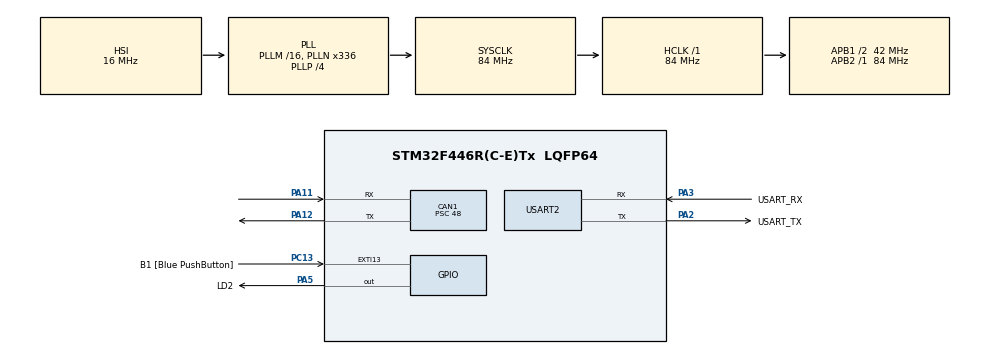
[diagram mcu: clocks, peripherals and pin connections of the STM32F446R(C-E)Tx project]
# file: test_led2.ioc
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CAN1.BS1=CAN_BS1_11TQ
CAN1.BS2=CAN_BS2_2TQ
CAN1.CalculateTimeQuantum=1142.857142857143
CAN1.Mode=CAN_MODE_LOOPBACK
CAN1.Prescaler=48
Mcu.Family=STM32F4
Mcu.Name=STM32F446R(C-E)Tx
Mcu.Package=LQFP64
NVIC.CAN1_RX0_IRQn=true\:0\:0\:false\:false\:true\:true
NVIC.CAN1_RX1_IRQn=true\:0\:0\:false\:false\:true\:true
NVIC.CAN1_SCE_IRQn=true\:0\:0\:false\:false\:true\:true
NVIC.CAN1_TX_IRQn=true\:0\:0\:false\:false\:true\:true
NVIC.PriorityGroup=NVIC_PRIORITYGROUP_0
PA11.Mode=Master
PA11.Signal=CAN1_RX
PA12.Mode=Master
PA12.Signal=CAN1_TX
PA13.GPIO_Label=TMS
PA13.Mode=Serial_Wire
PA13.Signal=SYS_JTMS-SWDIO
PA14.GPIO_Label=TCK
PA14.Mode=Serial_Wire
PA14.Signal=SYS_JTCK-SWCLK
PA2.GPIO_Label=USART_TX
PA2.Mode=Asynchronous
PA2.Signal=USART2_TX
PA3.GPIO_Label=USART_RX
PA3.Mode=Asynchronous
PA3.Signal=USART2_RX
PA5.GPIO_Label=LD2
PA5.Signal=GPIO_Output
PB3.GPIO_Label=SWO
PB3.Signal=SYS_JTDO-SWO
PC13.GPIO_Label=B1 [Blue PushButton]
PC13.GPIO_ModeDefaultEXTI=GPIO_MODE_IT_FALLING
PC13.Signal=GPXTI13
PC14-OSC32_IN.Mode=LSE-External-Clock-Source
PC14-OSC32_IN.Signal=RCC_OSC32_IN
PC15-OSC32_OUT.Mode=LSE-External-Clock-Source
PC15-OSC32_OUT.Signal=RCC_OSC32_OUT
PH0-OSC_IN.Mode=HSE-External-Clock-Source
PH0-OSC_IN.Signal=RCC_OSC_IN
PH1-OSC_OUT.Mode=HSE-External-Clock-Source
PH1-OSC_OUT.Signal=RCC_OSC_OUT
ProjectManager.HeapSize=0x200
ProjectManager.StackSize=0x400
ProjectManager.TargetToolchain=TrueSTUDIO
RCC.48MHZClocksFreq_Value=84000000
RCC.AHBFreq_Value=84000000
RCC.APB1CLKDivider=RCC_HCLK_DIV2
RCC.APB1Freq_Value=42000000
RCC.APB1TimFreq_Value=84000000
RCC.APB2Freq_Value=84000000
RCC.APB2TimFreq_Value=84000000
RCC.CortexFreq_Value=84000000
RCC.FLatency-AdvancedSettings=FLASH_LATENCY_2
RCC.HCLKFreq_Value=84000000
RCC.HSE_VALUE=8000000
RCC.HSI_VALUE=16000000
RCC.PLLN=336
RCC.PLLP=RCC_PLLP_DIV4
RCC.SYSCLKFreq_VALUE=84000000
RCC.SYSCLKSource=RCC_SYSCLKSOURCE_PLLCLK
RCC.USBFreq_Value=168000000
RCC.VCOOutputFreq_Value=336000000
USART2.VirtualMode=VM_ASYNC
board=NUCLEO-F446RE

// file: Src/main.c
/**
  ******************************************************************************
  * @file           : main.c
  * @brief          : Main program body
  ******************************************************************************
  ** This notice applies to any and all portions of this file
  * that are not between comment pairs USER CODE BEGIN and
  * USER CODE END. Other portions of this file, whether
  * inserted by the user or by software development tools
  * are owned by their respective copyright owners.
  *
  * COPYRIGHT(c) 2018 STMicroelectronics
  *
  * Redistribution and use in source and binary forms, with or without modification,
  * are permitted provided that the following conditions are met:
  *   1. Redistributions of source code must retain the above copyright notice,
  *      this list of conditions and the following disclaimer.
  *   2. Redistributions in binary form must reproduce the above copyright notice,
  *      this list of conditions and the following disclaimer in the documentation
  *      and/or other materials provided with the distribution.
  *   3. Neither the name of STMicroelectronics nor the names of its contributors
  *      may be used to endorse or promote products derived from this software
  *      without specific prior written permission.
  *
  * THIS SOFTWARE IS PROVIDED BY THE COPYRIGHT HOLDERS AND CONTRIBUTORS "AS IS"
  * AND ANY EXPRESS OR IMPLIED WARRANTIES, INCLUDING, BUT NOT LIMITED TO, THE
  * IMPLIED WARRANTIES OF MERCHANTABILITY AND FITNESS FOR A PARTICULAR PURPOSE ARE
  * DISCLAIMED. IN NO EVENT SHALL THE COPYRIGHT HOLDER OR CONTRIBUTORS BE LIABLE
  * FOR ANY DIRECT, INDIRECT, INCIDENTAL, SPECIAL, EXEMPLARY, OR CONSEQUENTIAL
  * DAMAGES (INCLUDING, BUT NOT LIMITED TO, PROCUREMENT OF SUBSTITUTE GOODS OR
  * SERVICES; LOSS OF USE, DATA, OR PROFITS; OR BUSINESS INTERRUPTION) HOWEVER
  * CAUSED AND ON ANY THEORY OF LIABILITY, WHETHER IN CONTRACT, STRICT LIABILITY,
  * OR TORT (INCLUDING NEGLIGENCE OR OTHERWISE) ARISING IN ANY WAY OUT OF THE USE
  * OF THIS SOFTWARE, EVEN IF ADVISED OF THE POSSIBILITY OF SUCH DAMAGE.
  *
  ******************************************************************************
  */
#include "main.h"
#include "stm32f4xx_hal.h"

#include "string.h"
#include "wifi_module.h"
#include "wifi_globals.h"
#include "wifi_interface.h"
#include "config_wifi.h"
#include "connexion_mqtt.h"

/* USER CODE BEGIN Includes */
//#include <stdio.h>
#include "can.h"
/* USER CODE END Includes */

extern uint8_t MQTT_connected;

/* USER CODE BEGIN PV */
/* Private variables ---------------------------------------------------------*/

/* USER CODE END PV */

void SystemClock_Config(void);
static void MX_GPIO_Init(void);
static void MX_USART2_UART_Init(void);
static void MX_CAN1_Init(void);

void  UART_Msg_Gpio_Init(void);
void  USART_PRINT_MSG_Configuration(UART_HandleTypeDef *UART_MsgHandle, uint32_t baud_rate);

/* USER CODE BEGIN PFP */

__IO wifi_state_t wifi_state;
wifi_config config;
UART_HandleTypeDef UART_MsgHandle;

char wifi_ip_addr[20];
uint32_t baud_rate = 115200;

/* USER CODE END 0 */

int main(void)
{
  /* USER CODE BEGIN 1 */
	WiFi_Status_t status = WiFi_MODULE_SUCCESS;

		  __GPIOA_CLK_ENABLE();

  /* USER CODE END 1 */

  /* MCU Configuration----------------------------------------------------------*/

  /* Reset of all peripherals, Initializes the Flash interface and the Systick. */
  HAL_Init();

  /* Configure the system clock */
  SystemClock_Config();

  /* USER CODE BEGIN SysInit */
  SystemCoreClockUpdate();

 	  /* configure the timers  */
 	  Timer_Config( );
  /* USER CODE END SysInit */

  /* Initialize all configured peripherals */
  MX_GPIO_Init();
  MX_USART2_UART_Init();
  MX_CAN1_Init();
  /* USER CODE BEGIN 2 */
  CAN_Config();
  /* USER CODE END 2 */

  /* Infinite loop */
  /* USER CODE BEGIN WHILE */

  UART_Configuration(baud_rate);

 	  config.power=wifi_active;
 	  config.power_level=high;
 	  config.dhcp=on;//use DHCP IP address
 	  config.mcu_baud_rate = baud_rate;
 	  wifi_state = wifi_state_idle;

 	  printf("\r\n\nInitializing the wifi module...");

 	  /* Init the wi-fi module */
 	  status = wifi_init(&config);
 	  if(status!=WiFi_MODULE_SUCCESS)
 	  {
 	    printf("Error in Config");
 	    return 0;
 	  }

	  //A DECOMMENTER POUR QUE LE MODULE COMMENCE EN MODE MINIAP
	  //--
	  //launch_config_wifi();

	  //A DECOMMENTER POUR QUE LE MODULE SE CONNECTE AUTOMATIQUEMENT AU WIFI
	  //--
	  char* ssid_ = "Honor22";
	  char* key_ = "stephane";
	  wifi_connect(ssid_, key_,2);

  while (1)
  {
	  /*HAL_GPIO_TogglePin(GPIOA, GPIO_PIN_5);

	  CAN_Transmit(8,2,TxData);

	 HAL_Delay(500);*/

	  /*__NOP();
	 	  switch(wifi_state)
	 	  {
	 	  case wifi_state_connected:
	 		  if(MQTT_connected==0)
	 		  {
	 			  printf("\r\nConnexion MQTT ...\r\n");
	 			  configuration_MQTT();
	 		  }
	 		  break;
	 		  default:
	 			  MQTT_connected=0;
	 			  break;

	 	  }
*/

  /* USER CODE END WHILE */

  /* USER CODE BEGIN 3 */
	  //HAL_GPIO_TogglePin(LD2_GPIO_Port, LD2_Pin); // PORTA, PA5
	 // HAL_Delay(500);
	  //nLoop++;
	  //printf("nLoop == %d \n\r", nLoop);
  }
  /* USER CODE END 3 */

}

void SystemClock_Config(void)
{

  RCC_OscInitTypeDef RCC_OscInitStruct;
  RCC_ClkInitTypeDef RCC_ClkInitStruct;

    /**Configure the main internal regulator output voltage
    */
  __HAL_RCC_PWR_CLK_ENABLE();

  __HAL_PWR_VOLTAGESCALING_CONFIG(PWR_REGULATOR_VOLTAGE_SCALE3);

    /**Initializes the CPU, AHB and APB busses clocks
    */
  RCC_OscInitStruct.OscillatorType = RCC_OSCILLATORTYPE_HSI;
  RCC_OscInitStruct.HSIState = RCC_HSI_ON;
  RCC_OscInitStruct.HSICalibrationValue = 16;
  RCC_OscInitStruct.PLL.PLLState = RCC_PLL_ON;
  RCC_OscInitStruct.PLL.PLLSource = RCC_PLLSOURCE_HSI;
  RCC_OscInitStruct.PLL.PLLM = 16;
  RCC_OscInitStruct.PLL.PLLN = 336;
  RCC_OscInitStruct.PLL.PLLP = RCC_PLLP_DIV4;
  RCC_OscInitStruct.PLL.PLLQ = 2;
  RCC_OscInitStruct.PLL.PLLR = 2;
  if (HAL_RCC_OscConfig(&RCC_OscInitStruct) != HAL_OK)
  {
    _Error_Handler(__FILE__, __LINE__);
  }

    /**Initializes the CPU, AHB and APB busses clocks
    */
  RCC_ClkInitStruct.ClockType = RCC_CLOCKTYPE_HCLK|RCC_CLOCKTYPE_SYSCLK
                              |RCC_CLOCKTYPE_PCLK1|RCC_CLOCKTYPE_PCLK2;
  RCC_ClkInitStruct.SYSCLKSource = RCC_SYSCLKSOURCE_PLLCLK;
  RCC_ClkInitStruct.AHBCLKDivider = RCC_SYSCLK_DIV1;
  RCC_ClkInitStruct.APB1CLKDivider = RCC_HCLK_DIV2;
  RCC_ClkInitStruct.APB2CLKDivider = RCC_HCLK_DIV1;

  if (HAL_RCC_ClockConfig(&RCC_ClkInitStruct, FLASH_LATENCY_2) != HAL_OK)
  {
    _Error_Handler(__FILE__, __LINE__);
  }

    /**Configure the Systick interrupt time
    */
  HAL_SYSTICK_Config(HAL_RCC_GetHCLKFreq()/1000);

    /**Configure the Systick
    */
  HAL_SYSTICK_CLKSourceConfig(SYSTICK_CLKSOURCE_HCLK);

  /* SysTick_IRQn interrupt configuration */
  HAL_NVIC_SetPriority(SysTick_IRQn, 0, 0);
}

/* CAN1 init function */
static void MX_CAN1_Init(void)
{

  hcan1.Instance = CAN1;
  hcan1.Init.Prescaler = 48;
  hcan1.Init.Mode = CAN_MODE_LOOPBACK;
  hcan1.Init.SyncJumpWidth = CAN_SJW_1TQ;
  hcan1.Init.TimeSeg1 = CAN_BS1_11TQ;
  hcan1.Init.TimeSeg2 = CAN_BS2_2TQ;
  hcan1.Init.TimeTriggeredMode = DISABLE;
  hcan1.Init.AutoBusOff = DISABLE;
  hcan1.Init.AutoWakeUp = DISABLE;
  hcan1.Init.AutoRetransmission = DISABLE;
  hcan1.Init.ReceiveFifoLocked = DISABLE;
  hcan1.Init.TransmitFifoPriority = DISABLE;
  if (HAL_CAN_Init(&hcan1) != HAL_OK)
  {
    _Error_Handler(__FILE__, __LINE__);
  }

}

/* USART2 init function */
static void MX_USART2_UART_Init(void)
{

  huart2.Instance = USART2;
  huart2.Init.BaudRate = 115200;
  huart2.Init.WordLength = UART_WORDLENGTH_8B;
  huart2.Init.StopBits = UART_STOPBITS_1;
  huart2.Init.Parity = UART_PARITY_NONE;
  huart2.Init.Mode = UART_MODE_TX_RX;
  huart2.Init.HwFlowCtl = UART_HWCONTROL_NONE;
  huart2.Init.OverSampling = UART_OVERSAMPLING_16;
  if (HAL_UART_Init(&huart2) != HAL_OK)
  {
    _Error_Handler(__FILE__, __LINE__);
  }

}

/** Configure pins as
        * Analog
        * Input
        * Output
        * EVENT_OUT
        * EXTI
*/
static void MX_GPIO_Init(void)
{

  GPIO_InitTypeDef GPIO_InitStruct;

  /* GPIO Ports Clock Enable */
  __HAL_RCC_GPIOC_CLK_ENABLE();
  __HAL_RCC_GPIOH_CLK_ENABLE();
  __HAL_RCC_GPIOA_CLK_ENABLE();
  __HAL_RCC_GPIOB_CLK_ENABLE();

  /*Configure GPIO pin Output Level */
  HAL_GPIO_WritePin(LD2_GPIO_Port, LD2_Pin, GPIO_PIN_RESET);

  /*Configure GPIO pin : B1_Pin */
  GPIO_InitStruct.Pin = B1_Pin;
  GPIO_InitStruct.Mode = GPIO_MODE_IT_FALLING;
  GPIO_InitStruct.Pull = GPIO_NOPULL;
  HAL_GPIO_Init(B1_GPIO_Port, &GPIO_InitStruct);

  /*Configure GPIO pin : LD2_Pin */
  GPIO_InitStruct.Pin = LD2_Pin;
  GPIO_InitStruct.Mode = GPIO_MODE_OUTPUT_PP;
  GPIO_InitStruct.Pull = GPIO_NOPULL;
  GPIO_InitStruct.Speed = GPIO_SPEED_FREQ_LOW;
  HAL_GPIO_Init(LD2_GPIO_Port, &GPIO_InitStruct);

}

/* USER CODE BEGIN 4 */
/*int __io_putchar(int ch)
{
 uint8_t c[1];
 c[0] = ch & 0x00FF;
 HAL_UART_Transmit(&huart2, &*c, 1, 10);
 return ch;
}

int _write(int file,char *ptr, int len)
{
 int DataIdx;
 for(DataIdx= 0; DataIdx< len; DataIdx++)
 {
 __io_putchar(*ptr++);
 }
return len;
}*/
/* USER CODE END 4 */

void _Error_Handler(char *file, int line)
{
  while(1)
  {
  }
}

/************************ (C) COPYRIGHT STMicroelectronics *****END OF FILE****/
